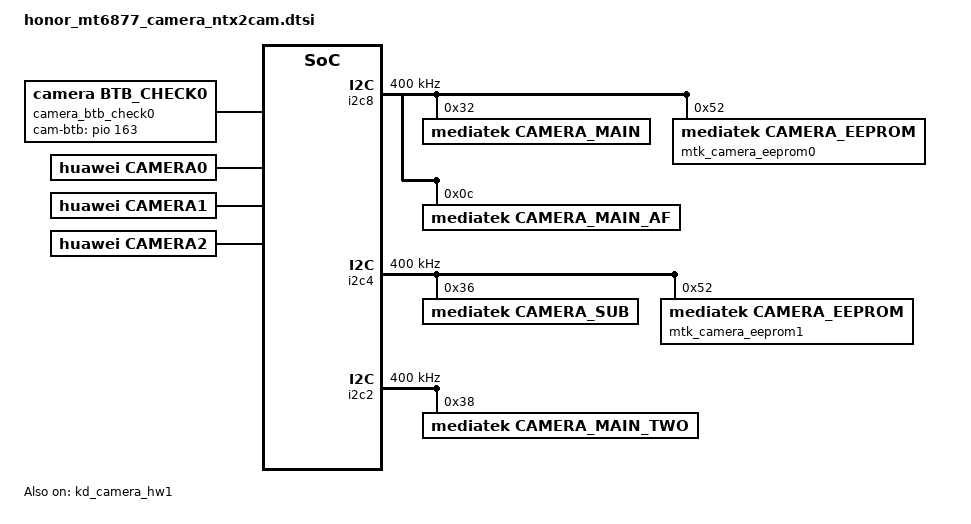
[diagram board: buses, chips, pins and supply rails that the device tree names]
/*
 * Copyright (c) 2021-2021 Honor Technologies Co., Ltd.
 *
 * This program is free software; you can redistribute it and/or modify
 * it under the terms of the GNU General Public License version 2 as
 * published by the Free Software Foundation.
 *
 * This program is distributed in the hope that it will be useful,
 * but WITHOUT ANY WARRANTY; without even the implied warranty of
 * MERCHANTABILITY or FITNESS FOR A PARTICULAR PURPOSE.  See the
 * GNU General Public License for more details.
 */

&product_name_camera {
	product-name = "ntx2cam";
	cam-isp-dsm-enabled = <1>;
};

/* CAMERA GPIO standardization */
&pio {
	cam0_rst_0: cam0@0 {
		pins_cmd_dat {
			pinmux = <PINMUX_GPIO157__FUNC_GPIO157>;
			slew-rate = <1>;
			output-low;
		};
	};
	cam0_rst_1: cam0@1 {
		pins_cmd_dat {
			pinmux = <PINMUX_GPIO157__FUNC_GPIO157>;
			slew-rate = <1>;
			output-high;
		};
	};
	cam0_vcamd_en_0: cam0@vcam0 {
		pins_cmd_dat {
			pinmux = <PINMUX_GPIO31__FUNC_GPIO31>;
			slew-rate = <1>;
			output-low;
		};
	};
	cam0_vcamd_en_1: cam0@vcam1 {
		pins_cmd_dat {
			pinmux = <PINMUX_GPIO31__FUNC_GPIO31>;
			slew-rate = <1>;
			output-high;
		};
	};
	cam0_vcamd_sel_0: cam0@vcam2 {
		pins_cmd_dat {
			pinmux = <PINMUX_GPIO30__FUNC_GPIO30>;
			slew-rate = <1>;
			output-low;
		};
	};
	cam0_vcamd_sel_1: cam0@vcam3 {
		pins_cmd_dat {
			pinmux = <PINMUX_GPIO30__FUNC_GPIO30>;
			slew-rate = <0>;
			bias-disable;
		};
	};
	cam0_vcama_en_0: cam0@vcam4 {
		pins_cmd_dat {
			pinmux = <PINMUX_GPIO34__FUNC_GPIO34>;
			slew-rate = <1>;
			output-low;
		};
	};
	cam0_vcama_en_1: cam0@vcam5 {
		pins_cmd_dat {
			pinmux = <PINMUX_GPIO34__FUNC_GPIO34>;
			slew-rate = <1>;
			output-high;
		};
	};
	camera_pins_cam0_btb_check_0: camera_pins_cam0_btb_check_0 {
		pins_cmd_dat {
			pinmux = <PINMUX_GPIO163__FUNC_GPIO163>;
			slew-rate = <0>;
			bias-pull-down;
		};
	};
	camera_pins_cam0_btb_check_1: camera_pins_cam0_btb_check_1 {
		pins_cmd_dat {
			pinmux = <PINMUX_GPIO163__FUNC_GPIO163>;
			slew-rate = <0>;
			bias-pull-up;
		};
	};
	cam0_mclk_off: cam0_mclk_off {
		pins_cmd_dat {
			pinmux = <PINMUX_GPIO149__FUNC_GPIO149>;
			drive-strength = <1>;
		};
	};
	cam0_mclk_2ma: cam0_mclk_2ma {
		pins_cmd_dat {
			pinmux = <PINMUX_GPIO149__FUNC_CMMCLK0>;
			drive-strength = <0>;
		};
	};
	cam0_mclk_4ma: cam0_mclk_4ma {
		pins_cmd_dat {
			pinmux = <PINMUX_GPIO149__FUNC_CMMCLK0>;
			drive-strength = <1>;
		};
	};
	cam0_mclk_6ma: cam0_mclk_6ma {
		pins_cmd_dat {
			pinmux = <PINMUX_GPIO149__FUNC_CMMCLK0>;
			drive-strength = <2>;
		};
	};
	cam0_mclk_8ma: cam0_mclk_8ma {
		pins_cmd_dat {
			pinmux = <PINMUX_GPIO149__FUNC_CMMCLK0>;
			drive-strength = <3>;
		};
	};

	cam1_rst_0: cam1@0 {
		pins_cmd_dat {
			pinmux = <PINMUX_GPIO155__FUNC_GPIO155>;
			slew-rate = <1>;
			output-low;
		};
	};
	cam1_rst_1: cam1@1 {
		pins_cmd_dat {
			pinmux = <PINMUX_GPIO155__FUNC_GPIO155>;
			slew-rate = <1>;
			output-high;
		};
	};
	cam1_vcamd_en_0: cam1@vcam0 {
		pins_cmd_dat {
			pinmux = <PINMUX_GPIO31__FUNC_GPIO31>;
			slew-rate = <1>;
			output-low;
		};
	};
	cam1_vcamd_en_1: cam1@vcam1 {
		pins_cmd_dat {
			pinmux = <PINMUX_GPIO31__FUNC_GPIO31>;
			slew-rate = <1>;
			output-high;
		};
	};
	cam1_vcamd_sel_0: cam1@vcam2 {
		pins_cmd_dat {
			pinmux = <PINMUX_GPIO30__FUNC_GPIO30>;
			slew-rate = <1>;
			output-low;
		};
	};
	cam1_vcamd_sel_1: cam1@vcam3 {
		pins_cmd_dat {
			pinmux = <PINMUX_GPIO30__FUNC_GPIO30>;
			slew-rate = <0>;
			bias-disable;
		};
	};
	cam1_mclk_off: cam1_mclk_off {
		pins_cmd_dat {
			pinmux = <PINMUX_GPIO152__FUNC_GPIO152>;
			drive-strength = <1>;
		};
	};
	cam1_mclk_2ma: cam1_mclk_2ma {
		pins_cmd_dat {
			pinmux = <PINMUX_GPIO152__FUNC_CMMCLK3>;
			drive-strength = <0>;
		};
	};
	cam1_mclk_4ma: cam1_mclk_4ma {
		pins_cmd_dat {
			pinmux = <PINMUX_GPIO152__FUNC_CMMCLK3>;
			drive-strength = <1>;
		};
	};
	cam1_mclk_6ma: cam1_mclk_6ma {
		pins_cmd_dat {
			pinmux = <PINMUX_GPIO152__FUNC_CMMCLK3>;
			drive-strength = <2>;
		};
	};
	cam1_mclk_8ma: cam1_mclk_8ma {
		pins_cmd_dat {
			pinmux = <PINMUX_GPIO152__FUNC_CMMCLK3>;
			drive-strength = <3>;
		};
	};

/* main2 depth */
	cam2_pnd_0: cam2@0 {
		pins_cmd_dat {
			pinmux = <PINMUX_GPIO154__FUNC_GPIO154>;
			slew-rate = <1>;
			output-low;
		};
	};
	cam2_pnd_1: cam2@1 {
		pins_cmd_dat {
			pinmux = <PINMUX_GPIO154__FUNC_GPIO154>;
			slew-rate = <1>;
			output-high;
		};
	};
	cam2_mclk_off: cam2_mclk_off {
		pins_cmd_dat {
			pinmux = <PINMUX_GPIO150__FUNC_GPIO150>;
			drive-strength = <1>;
		};
	};
	cam2_mclk_2ma: cam2_mclk_2ma {
		pins_cmd_dat {
			pinmux = <PINMUX_GPIO150__FUNC_CMMCLK1>;
			drive-strength = <0>;
		};
	};
	cam2_mclk_4ma: cam2_mclk_4ma {
		pins_cmd_dat {
			pinmux = <PINMUX_GPIO150__FUNC_CMMCLK1>;
			drive-strength = <1>;
		};
	};
	cam2_mclk_6ma: cam2_mclk_6ma {
		pins_cmd_dat {
			pinmux = <PINMUX_GPIO150__FUNC_CMMCLK1>;
			drive-strength = <2>;
		};
	};
	cam2_mclk_8ma: cam2_mclk_8ma {
		pins_cmd_dat {
			pinmux = <PINMUX_GPIO150__FUNC_CMMCLK1>;
			drive-strength = <3>;
		};
	};

	default: camdefault {
	};
};

&cam_btb_check {
	camera_btb_check0 {
		compatible = "camera,btb_check0";
		sensor-id = <0>;
		pinctrl-names = "cam_btb_default", "cam_btb_suspend";
		pinctrl-0 = <&camera_pins_cam0_btb_check_0>;
		pinctrl-1 = <&camera_pins_cam0_btb_check_1>;
		cam-btb-gpios = <&pio 163 0>;
		status = "ok";
	};
};

&kd_camera_hw1 {
	pinctrl-names = "default",
		"cam0_rst0", "cam0_rst1",
		"cam0_vcamd_en_0", "cam0_vcamd_en_1",
		"cam0_vcamd_sel_0", "cam0_vcamd_sel_1",
		"cam0_vcama_en_0", "cam0_vcama_en_1",
		"cam0_mclk_off",
		"cam0_mclk_2mA", "cam0_mclk_4mA",
		"cam0_mclk_6mA", "cam0_mclk_8mA",

		"cam1_rst0", "cam1_rst1",
		"cam1_vcamd_en_0", "cam1_vcamd_en_1",
		"cam1_vcamd_sel_0", "cam1_vcamd_sel_1",
		"cam1_mclk_off",
		"cam1_mclk_2mA", "cam1_mclk_4mA",
		"cam1_mclk_6mA", "cam1_mclk_8mA",

		"cam2_pnd0", "cam2_pnd1",
		"cam2_mclk_off",
		"cam2_mclk_2mA", "cam2_mclk_4mA",
		"cam2_mclk_6mA", "cam2_mclk_8mA";

	pinctrl-0 = <&default>;
	pinctrl-1 = <&cam0_rst_0>;
	pinctrl-2 = <&cam0_rst_1>;
	pinctrl-3 = <&cam0_vcamd_en_0>;
	pinctrl-4 = <&cam0_vcamd_en_1>;
	pinctrl-5 = <&cam0_vcamd_sel_0>;
	pinctrl-6 = <&cam0_vcamd_sel_1>;
	pinctrl-7 = <&cam0_vcama_en_0>;
	pinctrl-8 = <&cam0_vcama_en_1>;
	pinctrl-9 = <&cam0_mclk_off>;
	pinctrl-10 = <&cam0_mclk_2ma>;
	pinctrl-11 = <&cam0_mclk_4ma>;
	pinctrl-12 = <&cam0_mclk_6ma>;
	pinctrl-13 = <&cam0_mclk_8ma>;
	pinctrl-14 = <&cam1_rst_0>;
	pinctrl-15 = <&cam1_rst_1>;
	pinctrl-16 = <&cam1_vcamd_en_0>;
	pinctrl-17 = <&cam1_vcamd_en_1>;
	pinctrl-18 = <&cam1_vcamd_sel_0>;
	pinctrl-19 = <&cam1_vcamd_sel_1>;
	pinctrl-20 = <&cam1_mclk_off>;
	pinctrl-21 = <&cam1_mclk_2ma>;
	pinctrl-22 = <&cam1_mclk_4ma>;
	pinctrl-23 = <&cam1_mclk_6ma>;
	pinctrl-24 = <&cam1_mclk_8ma>;
	pinctrl-25 = <&cam2_pnd_0>;
	pinctrl-26 = <&cam2_pnd_1>;
	pinctrl-27 = <&cam2_mclk_off>;
	pinctrl-28 = <&cam2_mclk_2ma>;
	pinctrl-29 = <&cam2_mclk_4ma>;
	pinctrl-30 = <&cam2_mclk_6ma>;
	pinctrl-31 = <&cam2_mclk_8ma>;

	cam0_vcamio-supply = <&mt_pmic_vcamio_ldo_reg>;
	cam0_vcama-supply  = <&mt_pmic_vfp_ldo_reg>;   /* LDO1 main compatible regulator and gpio*/
	cam0_vcamaf-supply = <&mt_pmic_vio28_ldo_reg>;
	cam0_vcama1-supply = <&mt_pmic_vmc_ldo_reg>;   /* LDO3 1.8v avdd1 for main */
	cam0_vcamd-supply  = <&mt6315_3_vbuck3>;

	cam1_vcamio-supply = <&mt_pmic_vcamio_ldo_reg>;
	cam1_vcama-supply  = <&mt_pmic_vtp_ldo_reg>;   /* LDO2 front macro depth */
	cam1_vcamd-supply  = <&mt6315_3_vbuck3>;

	/* main2 depth */
	cam2_vcamio-supply = <&mt_pmic_vcamio_ldo_reg>;
	cam2_vcama-supply  = <&mt_pmic_vtp_ldo_reg>;

	status = "okay";

	fastmode_regulators = "cam0_vcamd", "cam1_vcamd";
};
/* CAMERA GPIO end */

&mediatek_camera {
	max-cam-num = "3";

	camera0 {
		compatible    = "huawei,camera0";
		sensor-index  = "0";
		mclk-index    = "0";
		csi-port      = "3";
		csi-dir       = "0";
		bit-order     = "0";
		orientation   = "90";
		sensor-hfov   = "67";
		sensor-vfov   = "49";

		i2c-dev-index = <0>;  // IMGSENSOR_I2C_DEV_0
		pin-type      =
				"mclk",
				"avdd",
				"avdd_en", // main camera avdd compatible regulator and gpio
				"avdd1",
				"dvdd",
				"dvdd_en",
				"dvdd_sel",
				"dovdd",
				"afvdd",
				"rst";
		pin-id       = <0 1 2 1 1 2 2 1 1 2>; // defined in "CONFIG_MTK_PLATFORM/imgsensor_platform.h"
	};

	camera1 {
		compatible    = "huawei,camera1";
		sensor-index  = "1";
		mclk-index    = "3";
		csi-port      = "2";
		csi-dir       = "1";
		bit-order     = "0";
		orientation   = "270";
		sensor-hfov   = "63";
		sensor-vfov   = "40";

		i2c-dev-index = <1>;  // IMGSENSOR_I2C_DEV_1
		pin-type      =
				"mclk",
				"avdd",
				"dvdd",
				"dvdd_en",
				"dvdd_sel",
				"dovdd",
				"rst";
		pin-id       = <0 1 1 2 2 1 2>;
	};

	camera2 {
		compatible    = "huawei,camera2";
		sensor-index  = "2";
		mclk-index    = "1";
		csi-port      = "1"; // CUSTOM_CFG_CSI_PORT_1(A) in camera_custom_imgsensor_cfg.h
		csi-dir       = "0";
		bit-order     = "0";
		orientation   = "90";
		sensor-hfov   = "75";
		sensor-vfov   = "60";

		i2c-dev-index = <2>;  // IMGSENSOR_I2C_DEV_2
		pin-type      =
				"mclk",
				"avdd",
				"dvdd",
				"dovdd",
				"pwdn",
				"rst";
		pin-id       = <0 1 1 1 2 2>;
	};
};

&i2c8 {
	clock-frequency = <400000>;
	camera_main:camera_main@32 {
		compatible = "mediatek,camera_main";
		reg = <0x32>;
		status = "okay";
	};
	mtk_camera_eeprom0:camera_eeprom0@52 {
		compatible = "mediatek,camera_eeprom";
		reg = <0x52>;
		status = "okay";
	};
	camera_main_af:camera_main_af@0c {
		compatible = "mediatek,camera_main_af";
		reg = <0x0c>;
		status = "okay";
	};
};

&i2c4 {
	clock-frequency = <400000>;
	camera_sub:camera_sub@36 {
		compatible = "mediatek,camera_sub";
		reg = <0x36>;
		status = "okay";
	};
	mtk_camera_eeprom1:camera_eeprom1@52 {
		compatible = "mediatek,camera_eeprom";
		reg = <0x52>;
		status = "okay";
	};
};

&i2c2 {
	clock-frequency = <400000>;
	camera_main_two:camera_main_two@38 {
		compatible = "mediatek,camera_main_two";
		reg = <0x38>;
		status = "okay";
	};
};
